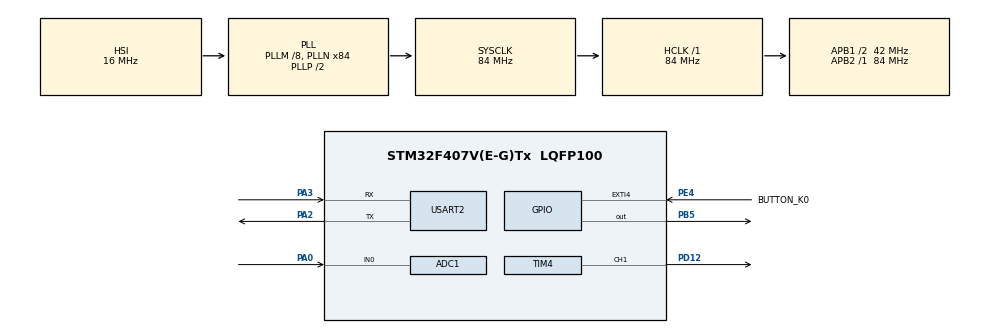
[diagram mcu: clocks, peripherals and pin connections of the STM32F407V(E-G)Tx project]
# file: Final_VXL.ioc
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ADC1.Channel-0\#ChannelRegularConversion=ADC_CHANNEL_0
ADC1.ContinuousConvMode=ENABLE
ADC1.DMAContinuousRequests=ENABLE
ADC1.EOCSelection=ADC_EOC_SINGLE_CONV
ADC1.ExternalTrigConv=ADC_EXTERNALTRIGCONV_T3_TRGO
ADC1.NbrOfConversionFlag=1
ADC1.Rank-0\#ChannelRegularConversion=1
ADC1.SamplingTime-0\#ChannelRegularConversion=ADC_SAMPLETIME_480CYCLES
ADC1.master=1
Dma.ADC1.1.Direction=DMA_PERIPH_TO_MEMORY
Dma.ADC1.1.FIFOMode=DMA_FIFOMODE_DISABLE
Dma.ADC1.1.Instance=DMA2_Stream0
Dma.ADC1.1.MemDataAlignment=DMA_MDATAALIGN_HALFWORD
Dma.ADC1.1.MemInc=DMA_MINC_ENABLE
Dma.ADC1.1.Mode=DMA_CIRCULAR
Dma.ADC1.1.PeriphDataAlignment=DMA_PDATAALIGN_HALFWORD
Dma.ADC1.1.PeriphInc=DMA_PINC_DISABLE
Dma.ADC1.1.Priority=DMA_PRIORITY_LOW
Dma.Request0=TIM4_CH1
Dma.Request1=ADC1
Dma.TIM4_CH1.0.Direction=DMA_MEMORY_TO_PERIPH
Dma.TIM4_CH1.0.FIFOMode=DMA_FIFOMODE_DISABLE
Dma.TIM4_CH1.0.Instance=DMA1_Stream0
Dma.TIM4_CH1.0.MemDataAlignment=DMA_MDATAALIGN_HALFWORD
Dma.TIM4_CH1.0.MemInc=DMA_MINC_ENABLE
Dma.TIM4_CH1.0.Mode=DMA_CIRCULAR
Dma.TIM4_CH1.0.PeriphDataAlignment=DMA_PDATAALIGN_HALFWORD
Dma.TIM4_CH1.0.PeriphInc=DMA_PINC_DISABLE
Dma.TIM4_CH1.0.Priority=DMA_PRIORITY_VERY_HIGH
Mcu.Family=STM32F4
Mcu.Name=STM32F407V(E-G)Tx
Mcu.Package=LQFP100
Mcu.UserConstants=LED_CNT,105
NVIC.DMA1_Stream0_IRQn=true\:0\:0\:false\:false\:true\:false\:true\:true
NVIC.DMA2_Stream0_IRQn=true\:0\:0\:false\:false\:true\:false\:true\:true
NVIC.EXTI4_IRQn=true\:0\:0\:false\:false\:true\:true\:true\:true
NVIC.PriorityGroup=NVIC_PRIORITYGROUP_4
NVIC.TIM3_IRQn=true\:0\:0\:false\:false\:true\:true\:true\:true
PA0-WKUP.Signal=ADCx_IN0
PA2.Mode=Asynchronous
PA2.Signal=USART2_TX
PA3.Mode=Asynchronous
PA3.Signal=USART2_RX
PB5.Signal=GPIO_Output
PD12.Signal=S_TIM4_CH1
PE4.GPIO_Label=BUTTON_K0
PE4.GPIO_ModeDefaultEXTI=GPIO_MODE_IT_FALLING
PE4.GPIO_PuPd=GPIO_PULLUP
PE4.Signal=GPXTI4
PH0-OSC_IN.Mode=HSE-External-Oscillator
PH0-OSC_IN.Signal=RCC_OSC_IN
PH1-OSC_OUT.Mode=HSE-External-Oscillator
PH1-OSC_OUT.Signal=RCC_OSC_OUT
ProjectManager.HeapSize=0x200
ProjectManager.StackSize=0x400
ProjectManager.TargetToolchain=STM32CubeIDE
RCC.48MHZClocksFreq_Value=42000000
RCC.AHBFreq_Value=84000000
RCC.APB1CLKDivider=RCC_HCLK_DIV2
RCC.APB1Freq_Value=42000000
RCC.APB1TimFreq_Value=84000000
RCC.APB2Freq_Value=84000000
RCC.APB2TimFreq_Value=84000000
RCC.CortexFreq_Value=84000000
RCC.HCLKFreq_Value=84000000
RCC.HSE_VALUE=8000000
RCC.HSI_VALUE=16000000
RCC.LSE_VALUE=32768
RCC.PLLM=8
RCC.PLLN=84
RCC.SYSCLKFreq_VALUE=84000000
RCC.SYSCLKSource=RCC_SYSCLKSOURCE_PLLCLK
RCC.VCOOutputFreq_Value=168000000
SH.ADCx_IN0.0=ADC1_IN0,IN0
SH.S_TIM4_CH1.0=TIM4_CH1,PWM Generation1 CH1
STMicroelectronics.X-CUBE-ALGOBUILD.1.4.0.LibraryCcDSPOoLibraryJjDSPOoLibrary=true
TIM3.Period=10499
TIM3.Prescaler=0
TIM3.TIM_MasterOutputTrigger=TIM_TRGO_UPDATE
TIM4.Channel-PWM\ Generation1\ CH1=TIM_CHANNEL_1
TIM4.Period=LED_CNT
TIM4.Prescaler=0
USART2.VirtualMode=VM_ASYNC
VP_STMicroelectronics.X-CUBE-ALGOBUILD_VS_DSPOoLibraryJjLibrary_1.4.0_1.4.0.Mode=DSPOoLibraryJjLibrary
VP_TIM3_VS_ClockSourceINT.Mode=Internal
VP_TIM4_VS_ClockSourceINT.Mode=Internal
board=custom

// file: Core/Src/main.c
/* USER CODE BEGIN Header */
/**
  ******************************************************************************
  * @file           : main.c
  * @brief          : Main program body
  ******************************************************************************
  * @attention
  *
  * Copyright (c) 2024 STMicroelectronics.
  * All rights reserved.
  *
  * This software is licensed under terms that can be found in the LICENSE file
  * in the root directory of this software component.
  * If no LICENSE file comes with this software, it is provided AS-IS.
  *
  ******************************************************************************
  */
/* USER CODE END Header */
#include "main.h"

/* USER CODE BEGIN Includes */
#include"ws2812.h"
#include "stdlib.h"
#include "arm_math.h"
#include <stdio.h>
#include "ws2812_demos.h"

#define min(a,b) (((a)<(b))?(a):(b))
#define SamplesFFT 256
#define MAX_MODE 7  // số chế độ tùy bạn

uint16_t colorValue[32]= {0x000F,0x03E0,0x03EF,0x7800,0x780F,0x7BE0,
		                  0xC618,0x001F,0x07E0,0x07FF,0xF800,0xF81F,
						  0xFFE0,0xFFFF,0xFD20,0XBC40,0XFC07,0x000F,
						  0x03E0,0x03EF,0x7800,0x780F,0x7BE0,0xC618,
						  0x001F,0x07E0,0x07FF,0xF800,0xF81F,0xFFE0,
						  0xFFFF,0xFD20};
uint32_t next_led = 0;
/* USER CODE END Includes */

ADC_HandleTypeDef hadc1;
DMA_HandleTypeDef hdma_adc1;

TIM_HandleTypeDef htim3;
TIM_HandleTypeDef htim4;
DMA_HandleTypeDef hdma_tim4_ch1;

UART_HandleTypeDef huart2;

/* USER CODE BEGIN PV */
ws2812_handleTypeDef ws2812;
/* USER CODE END PV */

void SystemClock_Config(void);
static void MX_GPIO_Init(void);
static void MX_DMA_Init(void);
static void MX_USART2_UART_Init(void);
static void MX_TIM4_Init(void);
static void MX_ADC1_Init(void);
static void MX_TIM3_Init(void);

/* USER CODE BEGIN 0 */
uint16_t adcValue[SamplesFFT];
float32_t input[SamplesFFT];
float32_t output[SamplesFFT];
uint32_t doConvert = SamplesFFT;
volatile uint8_t buffer_half = 0;         // Cờ nửa đầu buffer
volatile uint8_t buffer_full = 0;
volatile uint8_t button_pressed = 0; // Cờ báo nút được nhấn
volatile uint8_t button_check = 0;
volatile uint8_t mode = 0;

int _write(int fd, char *ptr, int len) {
    HAL_StatusTypeDef hstatus;

    if (fd == 1 || fd == 2) {
        hstatus = HAL_UART_Transmit(&huart2, (uint8_t*) ptr, len, HAL_MAX_DELAY);
        if (hstatus == HAL_OK)
            return len;
        else
            return -1;
    }
    return -1;
}

// Done sending first half of the DMA buffer - this can now safely be updated
void HAL_TIM_PWM_PulseFinishedHalfCpltCallback(TIM_HandleTypeDef *htim) {

    if (htim->Instance == TIM4) {
        ws2812_update_buffer(&ws2812, &ws2812.dma_buffer[0]);
    }

}

// Done sending the second half of the DMA buffer - this can now be safely updated
void HAL_TIM_PWM_PulseFinishedCallback(TIM_HandleTypeDef *htim) {

    if (htim->Instance == TIM4) {
        ws2812_update_buffer(&ws2812, &ws2812.dma_buffer[BUFFER_SIZE]);
    }

}
void HAL_TIM_PeriodElapsedCallback(TIM_HandleTypeDef *htim){
	if(doConvert >0) doConvert--;
}

void HAL_GPIO_EXTI_Callback(uint16_t GPIO_Pin)
{
  if (GPIO_Pin == GPIO_PIN_4)
  {
      static uint32_t lastTick = 0;
      uint32_t now = HAL_GetTick();

      if (now - lastTick > 200) // debounce 200ms
      {
          mode = (mode + 1) % MAX_MODE; // Ví dụ có MAX_MODE chế độ
          lastTick = now;
      }
  }
}

/* USER CODE END 0 */

int main(void)
{

  /* MCU Configuration--------------------------------------------------------*/

  /* Reset of all peripherals, Initializes the Flash interface and the Systick. */
  HAL_Init();

  /* Configure the system clock */
  SystemClock_Config();

  /* Initialize all configured peripherals */
  MX_GPIO_Init();
  MX_DMA_Init();
  MX_USART2_UART_Init();
  MX_TIM4_Init();
  MX_ADC1_Init();
  MX_TIM3_Init();
  /* USER CODE BEGIN 2 */
//
   arm_rfft_fast_instance_f32 fftInstance;
   HAL_ADC_Start_DMA(&hadc1, adcValue, SamplesFFT);
   HAL_TIM_Base_Start_IT(&htim3);
   arm_rfft_fast_init_f32(&fftInstance, SamplesFFT);

   ws2812_init(&ws2812, &htim4, TIM_CHANNEL_1, 64);

  /* USER CODE END 2 */

  /* Infinite loop */
  /* USER CODE BEGIN WHILE */

  while (1)
  {

	  switch(mode)
	  {
	      case 0:
	          ws2812_demos_set(&ws2812, 0);
	          break;
	      case 1:
	          ws2812_demos_set(&ws2812, 1);
	          break;
	      case 2:
	          ws2812_demos_set(&ws2812, 2);
	          break;
	      case 3:
	          ws2812_demos_set(&ws2812, 3);
	          break;
	      case 4:
	          ws2812_demos_set(&ws2812, 4);
	          break;
	      case 5:
	     	  ws2812_demos_set(&ws2812, 5);
	     	  break;

	      case 6:
	    	  ws2812_demos_set(&ws2812, 6);
	    	  break;

	  }

    /* USER CODE END WHILE */

    /* USER CODE BEGIN 3 */

//         /* USER CODE END WHILE */
//
//         /* USER CODE BEGIN 3 */
	  static uint8_t fftProcessCount = 0;
	  if (doConvert == 0) {
	      doConvert = SamplesFFT;

	      // Tính DC offset và chuẩn hóa tín hiệu ADC
	      float32_t dcOffset = 0.0f;
	      for (int i = 0; i < SamplesFFT; i++) {
	          dcOffset += (float32_t)adcValue[i];
	      }
	      dcOffset /= SamplesFFT;

	      for (int i = 0; i < SamplesFFT; i++) {
	          if (adcValue[i] >= 4095 || adcValue[i] <= 0) {
	              input[i] = 0.0f;
	          } else {
	              float32_t normalized = ((float32_t)adcValue[i] - dcOffset) / 2048.0f;
	              input[i] = normalized;
	          }
	      }

	      // Áp dụng Hamming window
	      for (int i = 0; i < SamplesFFT; i++) {
	          float32_t w = 0.54f - 0.46f * cosf(2.0f * M_PI * i / (SamplesFFT - 1));
	          input[i] *= w;
	      }

	      // Thực hiện FFT
	      arm_rfft_fast_f32(&fftInstance, input, output, 0);

	      // Tính biên độ (magnitude)
	      float32_t magnitude[SamplesFFT / 2];
	      arm_cmplx_mag_f32(output, magnitude, SamplesFFT / 2);

	      // Bỏ bin 0 (DC component)
	      magnitude[0] = 0.0f;

	      // Tìm giá trị lớn nhất để scale
	      float32_t globalMax = 0.0001f;
	      for (int i = 1; i < SamplesFFT / 2; i++) {
	          if (magnitude[i] > globalMax) globalMax = magnitude[i];
	      }

	      // Mapping phổ thành các band với smoothing
	      static float32_t smoothBand[8] = {0};  // ⚠ khai báo static để smoothing hoạt động
	      uint8_t ledMatrix[8] = {0};
	      const float band_gain[8] = {0.8f, 1.1f, 1.3f, 1.5f, 1.8f, 2.0f, 2.3f, 2.5f};
	      for (int band = 0; band < 8; band++) {
	          float32_t maxMagnitude = 0.0f;
	          int binPerBand = (SamplesFFT/2 - 1) / 8;
	          int start = 1 + band * binPerBand;
	          int end = start + binPerBand;

	          for (int i = start; i < end && i < SamplesFFT / 2; i++) {
	              if (magnitude[i] > maxMagnitude)
	                  maxMagnitude = magnitude[i];
	          }
	          if (maxMagnitude < 0.01f) maxMagnitude = 0.0f;

	          // Smoothing từng band
	          if (maxMagnitude > smoothBand[band])
	              smoothBand[band] = 0.7f * smoothBand[band] + 0.3f * maxMagnitude;
	          else
	              smoothBand[band] = 0.9f * smoothBand[band] + 0.1f * maxMagnitude;

	          // Scale logarit + phóng đại band
	          float32_t scaled = log10f(smoothBand[band] + 1.0f) / log10f(globalMax + 1.0f);
	          scaled *= band_gain[band];

	          // Shift nhẹ cho đẹp
	          scaled -= 0.2f;

	          uint8_t height = (uint8_t)(scaled * 8.0f);
	          if (height > 8) height = 8;
	          ledMatrix[band] = height;
	      }

	      // Xuất ra ma trận LED
	      fftProcessCount++;
	      if (fftProcessCount >= 6) {  // chỉ update LED mỗi 3 lần FFT (~chậm lại 3 lần)
	          ws2812_demos_tick(&ws2812, ledMatrix);
	          fftProcessCount = 0;

	      }
	  }

     }

  /* USER CODE END 3 */
}

void SystemClock_Config(void)
{
  RCC_OscInitTypeDef RCC_OscInitStruct = {0};
  RCC_ClkInitTypeDef RCC_ClkInitStruct = {0};

  /** Configure the main internal regulator output voltage
  */
  __HAL_RCC_PWR_CLK_ENABLE();
  __HAL_PWR_VOLTAGESCALING_CONFIG(PWR_REGULATOR_VOLTAGE_SCALE1);

  /** Initializes the RCC Oscillators according to the specified parameters
  * in the RCC_OscInitTypeDef structure.
  */
  RCC_OscInitStruct.OscillatorType = RCC_OSCILLATORTYPE_HSI;
  RCC_OscInitStruct.HSIState = RCC_HSI_ON;
  RCC_OscInitStruct.HSICalibrationValue = RCC_HSICALIBRATION_DEFAULT;
  RCC_OscInitStruct.PLL.PLLState = RCC_PLL_ON;
  RCC_OscInitStruct.PLL.PLLSource = RCC_PLLSOURCE_HSI;
  RCC_OscInitStruct.PLL.PLLM = 8;
  RCC_OscInitStruct.PLL.PLLN = 84;
  RCC_OscInitStruct.PLL.PLLP = RCC_PLLP_DIV2;
  RCC_OscInitStruct.PLL.PLLQ = 4;
  if (HAL_RCC_OscConfig(&RCC_OscInitStruct) != HAL_OK)
  {
    Error_Handler();
  }

  /** Initializes the CPU, AHB and APB buses clocks
  */
  RCC_ClkInitStruct.ClockType = RCC_CLOCKTYPE_HCLK|RCC_CLOCKTYPE_SYSCLK
                              |RCC_CLOCKTYPE_PCLK1|RCC_CLOCKTYPE_PCLK2;
  RCC_ClkInitStruct.SYSCLKSource = RCC_SYSCLKSOURCE_PLLCLK;
  RCC_ClkInitStruct.AHBCLKDivider = RCC_SYSCLK_DIV1;
  RCC_ClkInitStruct.APB1CLKDivider = RCC_HCLK_DIV2;
  RCC_ClkInitStruct.APB2CLKDivider = RCC_HCLK_DIV1;

  if (HAL_RCC_ClockConfig(&RCC_ClkInitStruct, FLASH_LATENCY_2) != HAL_OK)
  {
    Error_Handler();
  }
}

static void MX_ADC1_Init(void)
{

  ADC_ChannelConfTypeDef sConfig = {0};

  /** Configure the global features of the ADC (Clock, Resolution, Data Alignment and number of conversion)
  */
  hadc1.Instance = ADC1;
  hadc1.Init.ClockPrescaler = ADC_CLOCK_SYNC_PCLK_DIV4;
  hadc1.Init.Resolution = ADC_RESOLUTION_12B;
  hadc1.Init.ScanConvMode = DISABLE;
  hadc1.Init.ContinuousConvMode = ENABLE;
  hadc1.Init.DiscontinuousConvMode = DISABLE;
  hadc1.Init.ExternalTrigConvEdge = ADC_EXTERNALTRIGCONVEDGE_RISING;
  hadc1.Init.ExternalTrigConv = ADC_EXTERNALTRIGCONV_T3_TRGO;
  hadc1.Init.DataAlign = ADC_DATAALIGN_RIGHT;
  hadc1.Init.NbrOfConversion = 1;
  hadc1.Init.DMAContinuousRequests = ENABLE;
  hadc1.Init.EOCSelection = ADC_EOC_SINGLE_CONV;
  if (HAL_ADC_Init(&hadc1) != HAL_OK)
  {
    Error_Handler();
  }

  /** Configure for the selected ADC regular channel its corresponding rank in the sequencer and its sample time.
  */
  sConfig.Channel = ADC_CHANNEL_0;
  sConfig.Rank = 1;
  sConfig.SamplingTime = ADC_SAMPLETIME_480CYCLES;
  if (HAL_ADC_ConfigChannel(&hadc1, &sConfig) != HAL_OK)
  {
    Error_Handler();
  }

}

static void MX_TIM3_Init(void)
{

  TIM_ClockConfigTypeDef sClockSourceConfig = {0};
  TIM_MasterConfigTypeDef sMasterConfig = {0};

  htim3.Instance = TIM3;
  htim3.Init.Prescaler = 0;
  htim3.Init.CounterMode = TIM_COUNTERMODE_UP;
  htim3.Init.Period = 10499;
  htim3.Init.ClockDivision = TIM_CLOCKDIVISION_DIV1;
  htim3.Init.AutoReloadPreload = TIM_AUTORELOAD_PRELOAD_DISABLE;
  if (HAL_TIM_Base_Init(&htim3) != HAL_OK)
  {
    Error_Handler();
  }
  sClockSourceConfig.ClockSource = TIM_CLOCKSOURCE_INTERNAL;
  if (HAL_TIM_ConfigClockSource(&htim3, &sClockSourceConfig) != HAL_OK)
  {
    Error_Handler();
  }
  sMasterConfig.MasterOutputTrigger = TIM_TRGO_UPDATE;
  sMasterConfig.MasterSlaveMode = TIM_MASTERSLAVEMODE_DISABLE;
  if (HAL_TIMEx_MasterConfigSynchronization(&htim3, &sMasterConfig) != HAL_OK)
  {
    Error_Handler();
  }

}

static void MX_TIM4_Init(void)
{

  TIM_ClockConfigTypeDef sClockSourceConfig = {0};
  TIM_MasterConfigTypeDef sMasterConfig = {0};
  TIM_OC_InitTypeDef sConfigOC = {0};

  htim4.Instance = TIM4;
  htim4.Init.Prescaler = 0;
  htim4.Init.CounterMode = TIM_COUNTERMODE_UP;
  htim4.Init.Period = LED_CNT;
  htim4.Init.ClockDivision = TIM_CLOCKDIVISION_DIV1;
  htim4.Init.AutoReloadPreload = TIM_AUTORELOAD_PRELOAD_DISABLE;
  if (HAL_TIM_Base_Init(&htim4) != HAL_OK)
  {
    Error_Handler();
  }
  sClockSourceConfig.ClockSource = TIM_CLOCKSOURCE_INTERNAL;
  if (HAL_TIM_ConfigClockSource(&htim4, &sClockSourceConfig) != HAL_OK)
  {
    Error_Handler();
  }
  if (HAL_TIM_PWM_Init(&htim4) != HAL_OK)
  {
    Error_Handler();
  }
  sMasterConfig.MasterOutputTrigger = TIM_TRGO_RESET;
  sMasterConfig.MasterSlaveMode = TIM_MASTERSLAVEMODE_DISABLE;
  if (HAL_TIMEx_MasterConfigSynchronization(&htim4, &sMasterConfig) != HAL_OK)
  {
    Error_Handler();
  }
  sConfigOC.OCMode = TIM_OCMODE_PWM1;
  sConfigOC.Pulse = 0;
  sConfigOC.OCPolarity = TIM_OCPOLARITY_HIGH;
  sConfigOC.OCFastMode = TIM_OCFAST_DISABLE;
  if (HAL_TIM_PWM_ConfigChannel(&htim4, &sConfigOC, TIM_CHANNEL_1) != HAL_OK)
  {
    Error_Handler();
  }
  HAL_TIM_MspPostInit(&htim4);

}

static void MX_USART2_UART_Init(void)
{

  huart2.Instance = USART2;
  huart2.Init.BaudRate = 115200;
  huart2.Init.WordLength = UART_WORDLENGTH_8B;
  huart2.Init.StopBits = UART_STOPBITS_1;
  huart2.Init.Parity = UART_PARITY_NONE;
  huart2.Init.Mode = UART_MODE_TX_RX;
  huart2.Init.HwFlowCtl = UART_HWCONTROL_NONE;
  huart2.Init.OverSampling = UART_OVERSAMPLING_16;
  if (HAL_UART_Init(&huart2) != HAL_OK)
  {
    Error_Handler();
  }

}

static void MX_DMA_Init(void)
{

  /* DMA controller clock enable */
  __HAL_RCC_DMA1_CLK_ENABLE();
  __HAL_RCC_DMA2_CLK_ENABLE();

  /* DMA interrupt init */
  /* DMA1_Stream0_IRQn interrupt configuration */
  HAL_NVIC_SetPriority(DMA1_Stream0_IRQn, 0, 0);
  HAL_NVIC_EnableIRQ(DMA1_Stream0_IRQn);
  /* DMA2_Stream0_IRQn interrupt configuration */
  HAL_NVIC_SetPriority(DMA2_Stream0_IRQn, 0, 0);
  HAL_NVIC_EnableIRQ(DMA2_Stream0_IRQn);

}

static void MX_GPIO_Init(void)
{
  GPIO_InitTypeDef GPIO_InitStruct = {0};
  /* USER CODE BEGIN MX_GPIO_Init_1 */
  GPIO_InitStruct.Pin = GPIO_PIN_0; // PA0 cho ADC_CHANNEL_0
  GPIO_InitStruct.Mode = GPIO_MODE_ANALOG;
  GPIO_InitStruct.Pull = GPIO_PULLDOWN; // Kéo xuống
  HAL_GPIO_Init(GPIOA, &GPIO_InitStruct);
  /* USER CODE END MX_GPIO_Init_1 */

  /* GPIO Ports Clock Enable */
  __HAL_RCC_GPIOE_CLK_ENABLE();
  __HAL_RCC_GPIOH_CLK_ENABLE();
  __HAL_RCC_GPIOA_CLK_ENABLE();
  __HAL_RCC_GPIOD_CLK_ENABLE();
  __HAL_RCC_GPIOB_CLK_ENABLE();

  /*Configure GPIO pin Output Level */
  HAL_GPIO_WritePin(GPIOB, GPIO_PIN_5, GPIO_PIN_RESET);

  /*Configure GPIO pin : BUTTON_K0_Pin */
  GPIO_InitStruct.Pin = BUTTON_K0_Pin;
  GPIO_InitStruct.Mode = GPIO_MODE_IT_FALLING;
  GPIO_InitStruct.Pull = GPIO_PULLUP;
  HAL_GPIO_Init(BUTTON_K0_GPIO_Port, &GPIO_InitStruct);

  /*Configure GPIO pin : PB5 */
  GPIO_InitStruct.Pin = GPIO_PIN_5;
  GPIO_InitStruct.Mode = GPIO_MODE_OUTPUT_PP;
  GPIO_InitStruct.Pull = GPIO_NOPULL;
  GPIO_InitStruct.Speed = GPIO_SPEED_FREQ_LOW;
  HAL_GPIO_Init(GPIOB, &GPIO_InitStruct);

  /* EXTI interrupt init*/
  HAL_NVIC_SetPriority(EXTI4_IRQn, 0, 0);
  HAL_NVIC_EnableIRQ(EXTI4_IRQn);

}

/* USER CODE BEGIN 4 */
void HAL_ADC_ConvCpltCallback(ADC_HandleTypeDef* hadc) {
    if (hadc->Instance == ADC1) {
        doConvert = 0; // Đánh dấu đã thu thập đủ mẫu
    }
}

/* USER CODE END 4 */

void Error_Handler(void)
{
  __disable_irq();
  while (1)
  {
  }
}
